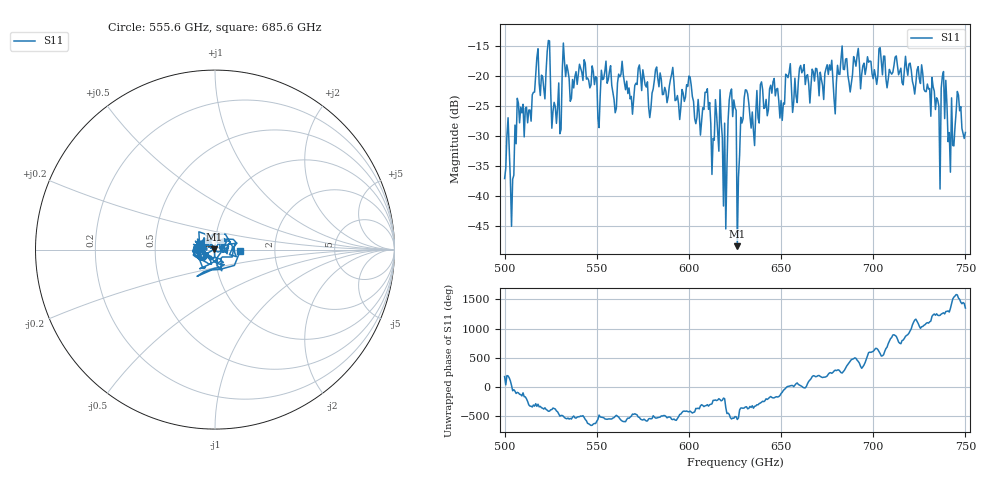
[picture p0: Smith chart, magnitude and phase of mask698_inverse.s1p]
!Created with skrf (http://scikit-rf.org).
# GHz S MA R 50.0
!freq magS11 angS11
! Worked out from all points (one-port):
!   401 points, 500 GHz to 750 GHz, reference 50 ohm
!   lowest |S11| = -48.5 dB at 626.2 GHz (marker M1), VSWR 1.01, Z = 49.7 + j0.14 ohm
!   |S11| at or under -10 dB: start of sweep to end of sweep
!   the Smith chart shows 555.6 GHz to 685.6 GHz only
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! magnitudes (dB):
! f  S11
! 500 GHz  -37.1
! 501.9 GHz  -26.9
! 503.8 GHz  -45.1
! 506.9 GHz  -23.7
! 513.8 GHz  -25.6
! 517.5 GHz  -16.9
! 523.8 GHz  -14.0
! 526.9 GHz  -24.4
! 531.2 GHz  -19.4
! 532.5 GHz  -17.6
! 550.6 GHz  -27.1
! 556.2 GHz  -20.6
! 559.4 GHz  -23.9
! 562.5 GHz  -20.1
! 593.8 GHz  -23.2
! 610 GHz  -22.1
! 612.5 GHz  -36.4
! 618.1 GHz  -30.3
! 619.4 GHz  -27.8
! 623.1 GHz  -22.1
! 625 GHz  -25.2
! 626.2 GHz  -48.5
! 631.2 GHz  -22.3
! 634.4 GHz  -26.0
! 656.2 GHz  -26.0
! 687.5 GHz  -22.6
! 718.8 GHz  -19.8
! 750 GHz  -29.4
